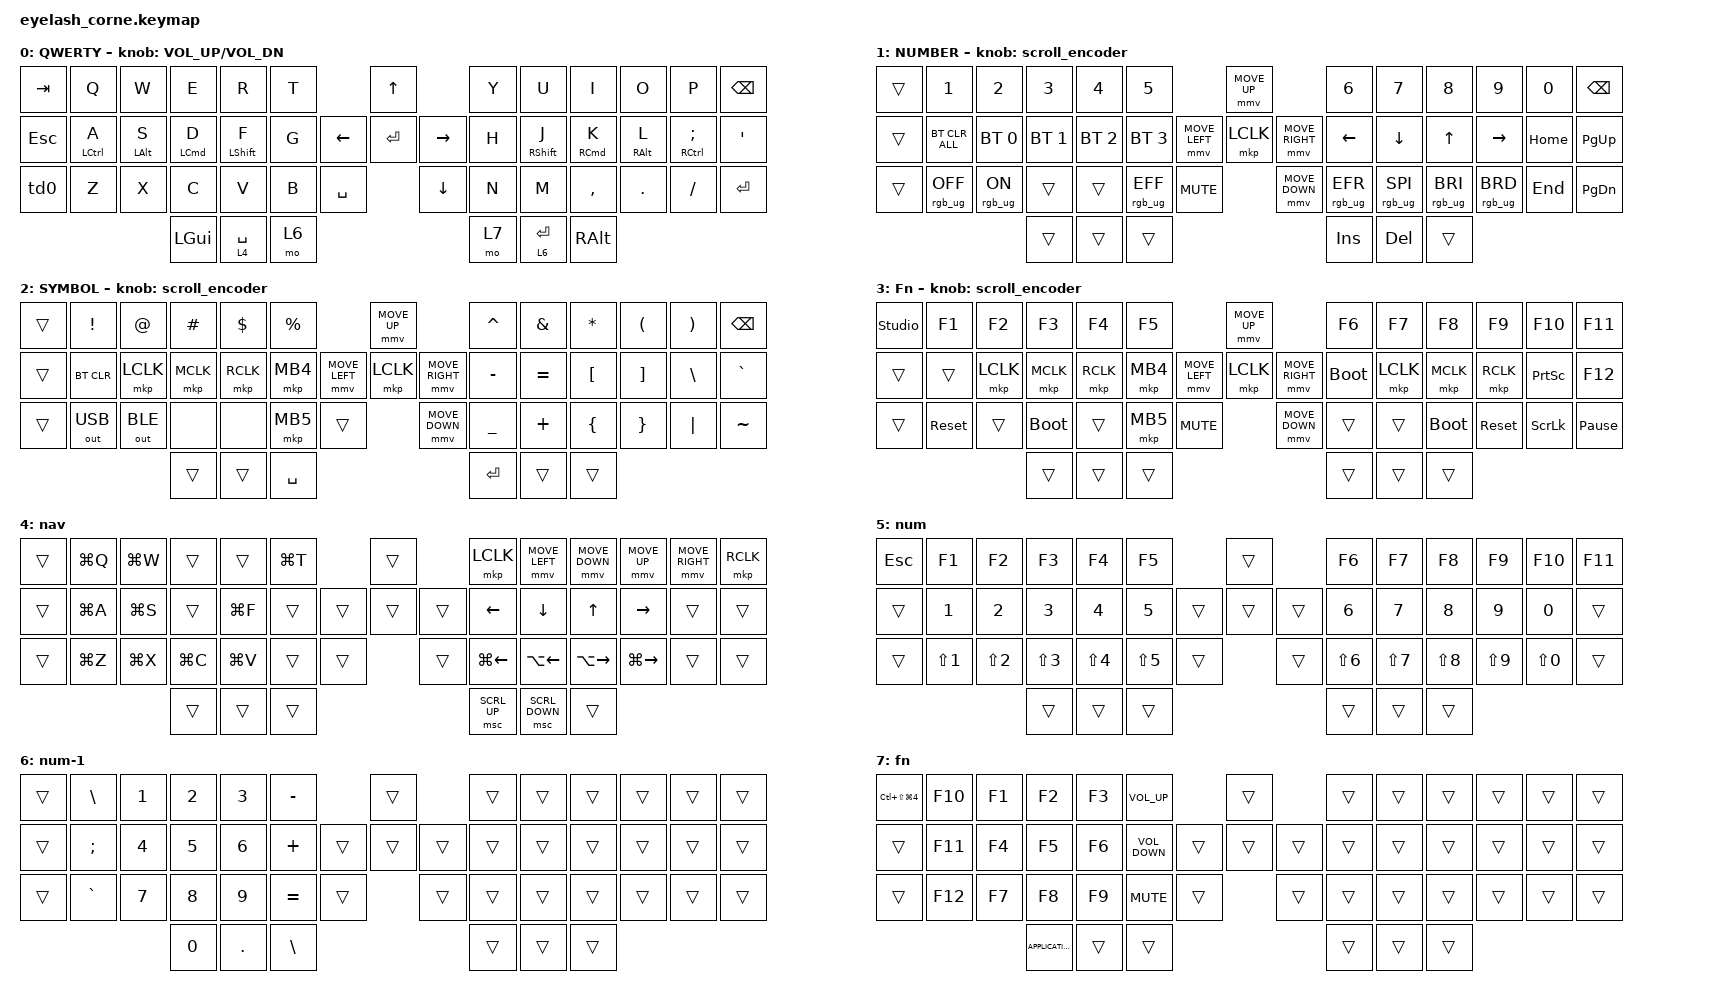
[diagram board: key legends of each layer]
#define ZMK_POINTING_DEFAULT_MOVE_VAL 1200  // 600
#define ZMK_POINTING_DEFAULT_SCRL_VAL 25   // 10

#include <input/processors.dtsi>
#include <zephyr/dt-bindings/input/input-event-codes.h>
#include <behaviors.dtsi>
#include <dt-bindings/zmk/bt.h>
#include <dt-bindings/zmk/keys.h>
#include <dt-bindings/zmk/outputs.h>
#include <dt-bindings/zmk/pointing.h>
#include <dt-bindings/zmk/rgb.h>

&mmv_input_listener { input-processors = <&zip_xy_scaler 2 1>; };

&msc_input_listener { input-processors = <&zip_scroll_scaler 2 1>; };

&msc {
    acceleration-exponent = <1>;      // 0
    time-to-max-speed-ms = <100>;       // 300
    delay-ms = <0>;                   // 0
};

&mmv {
    time-to-max-speed-ms = <500>;
    acceleration-exponent = <1>;
    trigger-period-ms = <16>;
};

&soft_off { hold-time-ms = <2000>; };

/ {
    behaviors {
        td0: td0 {
            compatible = "zmk,behavior-tap-dance";
            display-name = "Shift/Caps Lock Tap Dance";
            #binding-cells = <0>;
            bindings = <&kp LEFT_SHIFT>, <&kp CAPS>;
        };

        hml: homewrow_mods_left {
            compatible = "zmk,behavior-hold-tap";
            label = "HOMEROW_MODS_LEFT_HAND";
            bindings = <&kp>, <&kp>;

            #binding-cells = <2>;
            tapping-term-ms = <200>;
            hold-trigger-key-positions = <7 8 9 10 11 12 22 23 24 25 26 27 36 37 38 39 40 41 46 47 45>;
            flavor = "balanced";
        };

        hmr: homewrow_mods_right {
            compatible = "zmk,behavior-hold-tap";
            label = "HOMEROW_MODS_RIGHT_HAND";
            bindings = <&kp>, <&kp>;

            #binding-cells = <2>;
            tapping-term-ms = <200>;
            hold-trigger-key-positions = <0 1 2 3 4 5 13 14 15 16 17 18 28 29 30 31 32 33 34 42 43 44>;
            flavor = "balanced";
        };
    };

    rgb_encoder: rgb_encoder {
        compatible = "zmk,behavior-sensor-rotate";
        #sensor-binding-cells = <0>;
        bindings = <&rgb_ug RGB_BRI>, <&rgb_ug RGB_BRD>;
    };

    scroll_encoder: scroll_encoder {
        compatible = "zmk,behavior-sensor-rotate";
        #sensor-binding-cells = <0>;
        bindings = <&msc SCRL_DOWN>, <&msc SCRL_UP>;

        tap-ms = <100>;
    };

    combos {
        compatible = "zmk,combos";

        softoff {
            bindings = <&soft_off>;
            key-positions = <1 15 29>;
        };

        Left-Par {
            bindings = <&kp LEFT_PARENTHESIS>;
            key-positions = <4 5>;
        };

        Right_Par {
            bindings = <&kp RIGHT_PARENTHESIS>;
            key-positions = <7 8>;
        };

        Left_Brkt {
            bindings = <&kp LEFT_BRACKET>;
            key-positions = <17 18>;
        };

        Right_Brkt {
            bindings = <&kp RIGHT_BRACKET>;
            key-positions = <22 23>;
        };

        Left_Brace {
            bindings = <&kp LEFT_BRACE>;
            key-positions = <32 33>;
        };

        Right_Brace {
            bindings = <&kp RIGHT_BRACE>;
            key-positions = <36 37>;
        };

        esc {
            bindings = <&kp ESC>;
            key-positions = <23 24>;
        };

        copy {
            bindings = <&kp LG(C)>;
            key-positions = <30 31>;
        };

        cut {
            bindings = <&kp LG(X)>;
            key-positions = <29 30>;
        };

        paste {
            bindings = <&kp LG(V)>;
            key-positions = <31 32>;
        };
    };

    keymap {
        compatible = "zmk,keymap";

        default_layer {
            display-name = "QWERTY";
            bindings = <
&kp TAB     &kp Q                &kp W            &kp E        &kp R              &kp T                         &kp UP                &kp Y  &kp U               &kp I        &kp O             &kp P                    &kp BSPC
&kp ESCAPE  &hml LEFT_CONTROL A  &hml LEFT_ALT S  &hml LCMD D  &hml LEFT_SHIFT F  &kp G               &kp LEFT  &kp ENTER  &kp RIGHT  &kp H  &hmr RIGHT_SHIFT J  &hmr RCMD K  &hmr RIGHT_ALT L  &hmr RIGHT_CONTROL SEMI  &kp SQT
&td0        &kp Z                &kp X            &kp C        &kp V              &kp B  &kp SPACE              &kp DOWN              &kp N  &kp M               &kp COMMA    &kp DOT           &kp FSLH                 &kp ENTER
                                                  &kp LGUI     &lt 4 SPACE        &mo 6                                               &mo 7  &lt 6 ENTER         &kp RALT
            >;

            sensor-bindings = <&inc_dec_kp C_VOLUME_UP C_VOL_DN>;
        };

        lower_layer {
            display-name = "NUMBER";
            bindings = <
&trans  &kp N1           &kp N2          &kp N3        &kp N4        &kp N5                                         &mmv MOVE_UP                     &kp N6           &kp N7           &kp N8           &kp N9           &kp N0    &kp BSPC
&trans  &bt BT_CLR_ALL   &bt BT_SEL 0    &bt BT_SEL 1  &bt BT_SEL 2  &bt BT_SEL 3                   &mmv MOVE_LEFT  &mkp LCLK       &mmv MOVE_RIGHT  &kp LEFT         &kp DOWN         &kp UP           &kp RIGHT        &kp HOME  &kp PG_UP
&trans  &rgb_ug RGB_OFF  &rgb_ug RGB_ON  &trans        &trans        &rgb_ug RGB_EFF  &kp C_MUTE                    &mmv MOVE_DOWN                   &rgb_ug RGB_EFR  &rgb_ug RGB_SPI  &rgb_ug RGB_BRI  &rgb_ug RGB_BRD  &kp END   &kp PG_DN
                                         &trans        &trans        &trans                                                                          &kp INS          &kp DEL          &trans
            >;

            sensor-bindings = <&scroll_encoder>;
        };

        raise_layer {
            display-name = "SYMBOL";
            bindings = <
&trans  &kp EXCL      &kp AT        &kp HASH   &kp DLLR   &kp PRCNT                            &mmv MOVE_UP                     &kp CARET  &kp AMPS   &kp ASTRK  &kp LPAR  &kp RPAR  &kp BSPC
&trans  &bt BT_CLR    &mkp LCLK     &mkp MCLK  &mkp RCLK  &mkp MB4             &mmv MOVE_LEFT  &mkp LCLK       &mmv MOVE_RIGHT  &kp MINUS  &kp EQUAL  &kp LBKT   &kp RBKT  &kp BSLH  &kp GRAVE
&trans  &out OUT_USB  &out OUT_BLE  &none      &none      &mkp MB5   &trans                    &mmv MOVE_DOWN                   &kp UNDER  &kp PLUS   &kp LBRC   &kp RBRC  &kp PIPE  &kp TILDE
                                    &trans     &trans     &kp SPACE                                                             &kp RET    &trans     &trans
            >;

            sensor-bindings = <&scroll_encoder>;
        };

        layer_3 {
            display-name = "Fn";
            bindings = <
&studio_unlock  &kp F1      &kp F2     &kp F3       &kp F4     &kp F5                                  &mmv MOVE_UP                     &kp F6       &kp F7     &kp F8       &kp F9      &kp F10          &kp F11
&trans          &trans      &mkp LCLK  &mkp MCLK    &mkp RCLK  &mkp MB4                &mmv MOVE_LEFT  &mkp LCLK       &mmv MOVE_RIGHT  &bootloader  &mkp LCLK  &mkp MCLK    &mkp RCLK   &kp PRINTSCREEN  &kp F12
&trans          &sys_reset  &trans     &bootloader  &trans     &mkp MB5  &kp C_MUTE                    &mmv MOVE_DOWN                   &trans       &trans     &bootloader  &sys_reset  &kp SCROLLLOCK   &kp PAUSE_BREAK
                                       &trans       &trans     &trans                                                                   &trans       &trans     &trans
            >;

            sensor-bindings = <&scroll_encoder>;
        };

        nav {
            bindings = <
&trans  &kp LG(Q)  &kp LG(W)  &trans     &trans     &kp LG(T)                    &trans          &mkp LCLK     &mmv MOVE_LEFT  &mmv MOVE_DOWN  &mmv MOVE_UP   &mmv MOVE_RIGHT  &mkp RCLK
&trans  &kp LG(A)  &kp LG(S)  &trans     &kp LG(F)  &trans               &trans  &trans  &trans  &kp LEFT      &kp DOWN        &kp UP          &kp RIGHT      &trans           &trans
&trans  &kp LG(Z)  &kp LG(X)  &kp LG(C)  &kp LG(V)  &trans     &trans            &trans          &kp LG(LEFT)  &kp LA(LEFT)    &kp LA(RIGHT)   &kp LG(RIGHT)  &trans           &trans
                              &trans     &trans     &trans                                       &msc SCRL_UP  &msc SCRL_DOWN  &trans
            >;
        };

        num {
            bindings = <
&kp ESC  &kp F1      &kp F2      &kp F3      &kp F4      &kp F5                        &trans          &kp F6      &kp F7            &kp F8      &kp F9      &kp F10     &kp F11
&trans   &kp N1      &kp N2      &kp N3      &kp N4      &kp N5                &trans  &trans  &trans  &kp N6      &kp N7            &kp N8      &kp N9      &kp N0      &trans
&trans   &kp LS(N1)  &kp LS(N2)  &kp LS(N3)  &kp LS(N4)  &kp LS(N5)  &trans            &trans          &kp LS(N6)  &kp LS(NUMBER_7)  &kp LS(N8)  &kp LS(N9)  &kp LS(N0)  &trans
                                 &trans      &trans      &trans                                        &trans      &trans            &trans
            >;
        };

        num-1 {
            bindings = <
&trans  &kp BACKSLASH  &kp N1  &kp NUMBER_2  &kp N3   &kp MINUS                    &trans          &trans  &trans  &trans  &trans  &trans  &trans
&trans  &kp SEMI       &kp N4  &kp N5        &kp N6   &kp PLUS             &trans  &trans  &trans  &trans  &trans  &trans  &trans  &trans  &trans
&trans  &kp GRAVE      &kp N7  &kp N8        &kp N9   &kp EQUAL  &trans            &trans          &trans  &trans  &trans  &trans  &trans  &trans
                               &kp N0        &kp DOT  &kp BSLH                                     &trans  &trans  &trans
            >;
        };

        fn {
            bindings = <
&kp LC(LS(LG(N4)))  &kp F10  &kp F1  &kp F2             &kp F3  &kp C_VOL_UP                         &trans          &trans  &trans  &trans  &trans  &trans  &trans
&trans              &kp F11  &kp F4  &kp F5             &kp F6  &kp C_VOLUME_DOWN            &trans  &trans  &trans  &trans  &trans  &trans  &trans  &trans  &trans
&trans              &kp F12  &kp F7  &kp F8             &kp F9  &kp K_MUTE         &trans            &trans          &trans  &trans  &trans  &trans  &trans  &trans
                                     &kp K_APPLICATION  &trans  &trans                                               &trans  &trans  &trans
            >;
        };
    };
};
